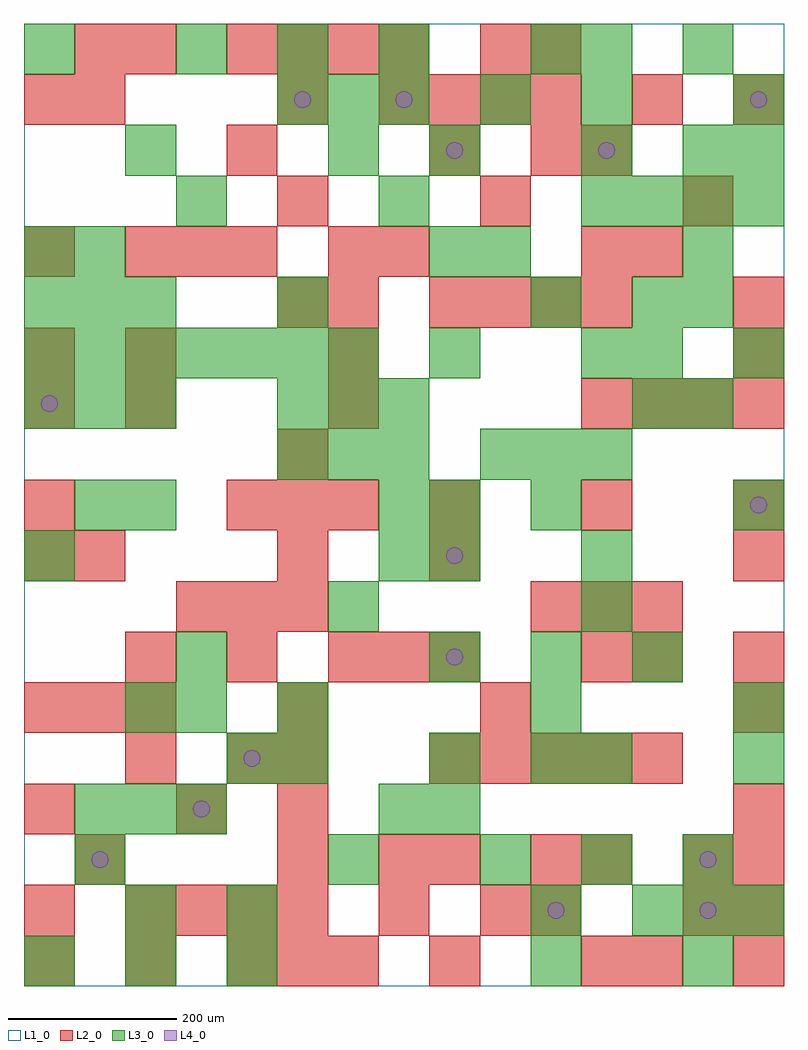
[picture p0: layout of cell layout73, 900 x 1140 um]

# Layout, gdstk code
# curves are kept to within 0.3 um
import gdstk
lib = gdstk.Library(unit=1e-6, precision=1e-09)
def R(c, l, rs):  # rectangles x0, y0, x1, y1
    for r in rs: c.add(gdstk.rectangle(r[:2], r[2:], *l))
def A(c, l, x, y, w, h, nx, ny, dx, dy):  # array of equal rectangles
    R(c, l, [(x+i*dx, y+j*dy, x+i*dx+w, y+j*dy+h) for i in range(nx) for j in range(ny)])
def P(c, l, *ps):  # polygons
    for p in ps: c.add(gdstk.Polygon(p, *l))
L1_0 = (1, 0)
L2_0 = (2, 0)
L3_0 = (3, 0)
L4_0 = (4, 0)

layout73 = lib.new_cell('layout73')
R(layout73, L1_0, [(0,0,900,1140)])
A(layout73, L2_0, 0, 0, 60, 60, 3, 1, 120, 0)
A(layout73, L2_0, 840, 0, 60, 60, 1, 4, 0, 60)
A(layout73, L2_0, 120, 60, 60, 60, 4, 1, 60, 0)
A(layout73, L2_0, 300, 120, 60, 60, 1, 4, 0, 60)
A(layout73, L2_0, 480, 240, 60, 60, 5, 1, 60, 0)
A(layout73, L2_0, 0, 300, 60, 60, 3, 1, 60, 0)
A(layout73, L2_0, 120, 360, 60, 60, 3, 1, 120, 0)
A(layout73, L2_0, 180, 420, 60, 60, 3, 1, 60, 0)
A(layout73, L2_0, 600, 420, 60, 60, 3, 1, 60, 0)
A(layout73, L2_0, 240, 540, 60, 60, 3, 1, 60, 0)
A(layout73, L2_0, 480, 540, 60, 60, 3, 1, 180, 0)
A(layout73, L2_0, 360, 660, 60, 60, 1, 4, 0, 60)
A(layout73, L2_0, 660, 660, 60, 60, 4, 1, 60, 0)
A(layout73, L2_0, 480, 780, 60, 60, 4, 1, 60, 0)
A(layout73, L2_0, 120, 840, 60, 60, 3, 1, 60, 0)
A(layout73, L2_0, 300, 900, 60, 60, 3, 1, 240, 0)
A(layout73, L2_0, 420, 1020, 60, 60, 4, 1, 60, 0)
A(layout73, L2_0, 240, 1080, 60, 60, 4, 1, 60, 0)
R(layout73, L2_0, [(300,0,360,60), (360,0,420,60), (480,0,540,60), (660,0,720,60), (720,0,780,60), (0,60,60,120), (420,60,480,120), (540,60,600,120), (600,60,660,120), (780,60,840,120), (60,120,120,180), (420,120,480,180), (480,120,540,180), (600,120,660,180), (660,120,720,180), (780,120,840,180), (0,180,60,240), (180,180,240,240), (120,240,180,300), (240,240,300,300), (540,300,600,360), (840,300,900,360), (420,360,480,420), (480,360,540,420), (660,360,720,420), (720,360,780,420), (840,360,900,420), (0,480,60,540), (60,480,120,540), (300,480,360,540), (480,480,540,540), (840,480,900,540), (0,540,60,600), (300,600,360,660), (0,660,60,720), (120,660,180,720), (0,720,60,780), (120,720,180,780), (840,720,900,780), (300,780,360,840), (840,780,900,840), (0,840,60,900), (420,840,480,900), (660,840,720,900), (720,840,780,900), (240,960,300,1020), (480,960,540,1020), (600,960,660,1020), (660,960,720,1020), (0,1020,60,1080), (60,1020,120,1080), (300,1020,360,1080), (720,1020,780,1080), (840,1020,900,1080), (60,1080,120,1140), (120,1080,180,1140), (540,1080,600,1140), (600,1080,660,1140)])
A(layout73, L3_0, 0, 0, 60, 60, 3, 1, 120, 0)
A(layout73, L3_0, 120, 60, 60, 60, 1, 3, 0, 240)
A(layout73, L3_0, 720, 60, 60, 60, 3, 2, 60, 840)
A(layout73, L3_0, 540, 120, 60, 60, 3, 1, 120, 0)
A(layout73, L3_0, 60, 180, 60, 60, 3, 1, 60, 0)
A(layout73, L3_0, 600, 300, 60, 60, 1, 3, 0, 240)
A(layout73, L3_0, 480, 360, 60, 60, 3, 1, 120, 0)
A(layout73, L3_0, 660, 480, 60, 60, 1, 3, 0, 240)
A(layout73, L3_0, 300, 600, 60, 60, 3, 2, 60, 60)
A(layout73, L3_0, 540, 600, 60, 60, 3, 1, 60, 0)
A(layout73, L3_0, 0, 660, 60, 60, 3, 2, 60, 120)
A(layout73, L3_0, 720, 660, 60, 60, 1, 3, 0, 60)
A(layout73, L3_0, 0, 720, 60, 60, 7, 1, 60, 0)
A(layout73, L3_0, 480, 720, 60, 60, 1, 3, 0, 120)
A(layout73, L3_0, 780, 840, 60, 60, 1, 3, 0, 120)
A(layout73, L3_0, 180, 900, 60, 60, 3, 1, 240, 0)
A(layout73, L3_0, 300, 1020, 60, 60, 3, 1, 60, 0)
A(layout73, L3_0, 180, 1080, 60, 60, 3, 1, 120, 0)
R(layout73, L3_0, [(600,0,660,60), (780,0,840,60), (240,60,300,120), (600,60,660,120), (60,120,120,180), (360,120,420,180), (420,180,480,240), (480,180,540,240), (240,240,300,300), (300,240,360,300), (480,240,540,300), (600,240,660,300), (660,240,720,300), (840,240,900,300), (180,300,240,360), (300,300,360,360), (840,300,900,360), (180,360,240,420), (360,420,420,480), (660,420,720,480), (0,480,60,540), (420,480,480,540), (480,480,540,540), (60,540,120,600), (420,540,480,600), (480,540,540,600), (840,540,900,600), (780,660,840,720), (840,720,900,780), (300,780,360,840), (780,780,840,840), (0,840,60,900), (60,840,120,900), (540,840,600,900), (120,960,180,1020), (360,960,420,1020), (840,960,900,1020), (540,1020,600,1080), (660,1020,720,1080), (840,1020,900,1080), (0,1080,60,1140), (600,1080,660,1140), (660,1080,720,1140)])
P(layout73, L4_0, [(40,690),(39.239,693.827),(37.071,697.071),(33.827,699.239),(30,700),(26.173,699.239),(22.929,697.071),(20.761,693.827),(20,690),(20.761,686.173),(22.929,682.929),(26.173,680.761),(30,680),(33.827,680.761),(37.071,682.929),(39.239,686.173)],
  [(100,150),(99.239,153.827),(97.071,157.071),(93.827,159.239),(90,160),(86.173,159.239),(82.929,157.071),(80.761,153.827),(80,150),(80.761,146.173),(82.929,142.929),(86.173,140.761),(90,140),(93.827,140.761),(97.071,142.929),(99.239,146.173)],
  [(220,210),(219.239,213.827),(217.071,217.071),(213.827,219.239),(210,220),(206.173,219.239),(202.929,217.071),(200.761,213.827),(200,210),(200.761,206.173),(202.929,202.929),(206.173,200.761),(210,200),(213.827,200.761),(217.071,202.929),(219.239,206.173)],
  [(280,270),(279.239,273.827),(277.071,277.071),(273.827,279.239),(270,280),(266.173,279.239),(262.929,277.071),(260.761,273.827),(260,270),(260.761,266.173),(262.929,262.929),(266.173,260.761),(270,260),(273.827,260.761),(277.071,262.929),(279.239,266.173)],
  [(340,1050),(339.239,1053.827),(337.071,1057.071),(333.827,1059.239),(330,1060),(326.173,1059.239),(322.929,1057.071),(320.761,1053.827),(320,1050),(320.761,1046.173),(322.929,1042.929),(326.173,1040.761),(330,1040),(333.827,1040.761),(337.071,1042.929),(339.239,1046.173)],
  [(460,1050),(459.239,1053.827),(457.071,1057.071),(453.827,1059.239),(450,1060),(446.173,1059.239),(442.929,1057.071),(440.761,1053.827),(440,1050),(440.761,1046.173),(442.929,1042.929),(446.173,1040.761),(450,1040),(453.827,1040.761),(457.071,1042.929),(459.239,1046.173)],
  [(520,390),(519.239,393.827),(517.071,397.071),(513.827,399.239),(510,400),(506.173,399.239),(502.929,397.071),(500.761,393.827),(500,390),(500.761,386.173),(502.929,382.929),(506.173,380.761),(510,380),(513.827,380.761),(517.071,382.929),(519.239,386.173)],
  [(520,510),(519.239,513.827),(517.071,517.071),(513.827,519.239),(510,520),(506.173,519.239),(502.929,517.071),(500.761,513.827),(500,510),(500.761,506.173),(502.929,502.929),(506.173,500.761),(510,500),(513.827,500.761),(517.071,502.929),(519.239,506.173)],
  [(520,990),(519.239,993.827),(517.071,997.071),(513.827,999.239),(510,1000),(506.173,999.239),(502.929,997.071),(500.761,993.827),(500,990),(500.761,986.173),(502.929,982.929),(506.173,980.761),(510,980),(513.827,980.761),(517.071,982.929),(519.239,986.173)],
  [(640,90),(639.239,93.827),(637.071,97.071),(633.827,99.239),(630,100),(626.173,99.239),(622.929,97.071),(620.761,93.827),(620,90),(620.761,86.173),(622.929,82.929),(626.173,80.761),(630,80),(633.827,80.761),(637.071,82.929),(639.239,86.173)],
  [(700,990),(699.239,993.827),(697.071,997.071),(693.827,999.239),(690,1000),(686.173,999.239),(682.929,997.071),(680.761,993.827),(680,990),(680.761,986.173),(682.929,982.929),(686.173,980.761),(690,980),(693.827,980.761),(697.071,982.929),(699.239,986.173)],
  [(820,90),(819.239,93.827),(817.071,97.071),(813.827,99.239),(810,100),(806.173,99.239),(802.929,97.071),(800.761,93.827),(800,90),(800.761,86.173),(802.929,82.929),(806.173,80.761),(810,80),(813.827,80.761),(817.071,82.929),(819.239,86.173)],
  [(820,150),(819.239,153.827),(817.071,157.071),(813.827,159.239),(810,160),(806.173,159.239),(802.929,157.071),(800.761,153.827),(800,150),(800.761,146.173),(802.929,142.929),(806.173,140.761),(810,140),(813.827,140.761),(817.071,142.929),(819.239,146.173)],
  [(880,570),(879.239,573.827),(877.071,577.071),(873.827,579.239),(870,580),(866.173,579.239),(862.929,577.071),(860.761,573.827),(860,570),(860.761,566.173),(862.929,562.929),(866.173,560.761),(870,560),(873.827,560.761),(877.071,562.929),(879.239,566.173)],
  [(880,1050),(879.239,1053.827),(877.071,1057.071),(873.827,1059.239),(870,1060),(866.173,1059.239),(862.929,1057.071),(860.761,1053.827),(860,1050),(860.761,1046.173),(862.929,1042.929),(866.173,1040.761),(870,1040),(873.827,1040.761),(877.071,1042.929),(879.239,1046.173)])

lib.write_gds('layout73.gds')
